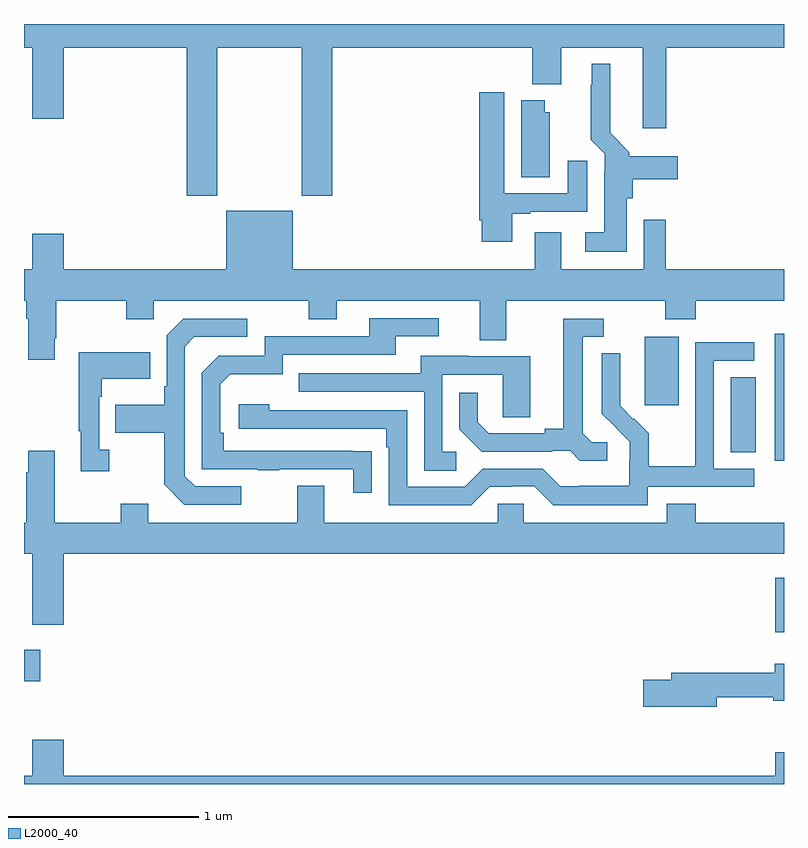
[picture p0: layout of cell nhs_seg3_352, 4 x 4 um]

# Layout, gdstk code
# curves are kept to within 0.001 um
import gdstk
lib = gdstk.Library(unit=1e-6, precision=1e-09)
def R(c, l, rs):  # rectangles x0, y0, x1, y1
    for r in rs: c.add(gdstk.rectangle(r[:2], r[2:], *l))
def P(c, l, *ps):  # polygons
    for p in ps: c.add(gdstk.Polygon(p, *l))
L2000_40 = (2000, 40)

nhs_seg3_352 = lib.new_cell('nhs_seg3_352')
R(nhs_seg3_352, L2000_40, [(129,670.942,129.085,671.107), (132.953,671.198,133,671.485), (132.95,672.102,133,672.769), (132.719,672.145,132.85,672.542), (132.266,672.393,132.445,672.754)])
P(nhs_seg3_352, L2000_40, [(130.017,674.276),(130.462,674.276),(130.462,673.497),(130.622,673.497),(130.622,674.276),(131.675,674.276),(131.675,674.084),(131.827,674.084),(131.827,674.276),(132.257,674.276),(132.257,673.851),(132.38,673.851),(132.38,674.276),(133,674.276),(133,674.4),(129,674.4),(129,674.276),(129.044,674.276),(129.044,673.902),(129.208,673.902),(129.208,674.276),(129.857,674.276),(129.857,673.497),(130.017,673.497)],
  [(132.172,673.482),(132.203,673.482),(132.203,673.583),(132.442,673.583),(132.442,673.705),(132.186,673.705),(132.186,673.726),(132.085,673.828),(132.085,674.191),(131.987,674.191),(131.987,674.081),(131.983,674.081),(131.983,673.79),(132.057,673.716),(132.057,673.622),(132.053,673.622),(132.053,673.303),(131.955,673.303),(131.955,673.202),(132.172,673.202)],
  [(131.569,673.401),(131.665,673.401),(131.665,673.413),(131.965,673.413),(131.965,673.681),(131.861,673.681),(131.861,673.509),(131.527,673.509),(131.527,674.041),(131.396,674.041),(131.396,673.366),(131.408,673.366),(131.408,673.254),(131.569,673.254)],
  [(131.767,673.935),(131.74,673.935),(131.74,673.999),(131.618,673.999),(131.618,673.594),(131.767,673.594)],
  [(129.163,672.745),(129.171,672.745),(129.171,672.944),(129.538,672.944),(129.538,672.845),(129.684,672.845),(129.684,672.944),(130.498,672.944),(130.498,672.845),(130.645,672.845),(130.645,672.944),(131.399,672.944),(131.399,672.736),(131.539,672.736),(131.539,672.944),(132.376,672.944),(132.376,672.845),(132.536,672.845),(132.536,672.944),(133,672.944),(133,673.108),(132.377,673.108),(132.377,673.369),(132.261,673.369),(132.261,673.108),(131.827,673.108),(131.827,673.303),(131.687,673.303),(131.687,673.108),(130.414,673.108),(130.414,673.417),(130.064,673.417),(130.064,673.108),(129.208,673.108),(129.208,673.297),(129.044,673.297),(129.044,673.108),(129,673.108),(129,672.944),(129.011,672.944),(129.011,672.848),(129.023,672.848),(129.023,672.633),(129.163,672.633)],
  [(130.829,672.152),(130.052,672.153),(130.052,672.25),(130.032,672.25),(130.032,672.504),(130.085,672.557),(130.362,672.557),(130.362,672.66),(130.957,672.66),(130.957,672.756),(131.182,672.756),(131.182,672.852),(130.817,672.852),(130.817,672.756),(130.266,672.756),(130.266,672.654),(130.026,672.654),(129.936,672.564),(129.936,672.057),(130.231,672.057),(130.231,672.052),(130.343,672.052),(130.343,672.057),(130.733,672.057),(130.733,671.934),(130.829,671.934)],
  [(130.144,671.967),(129.9,671.967),(129.846,672.021),(129.846,672.702),(129.897,672.753),(130.174,672.753),(130.174,672.849),(129.837,672.849),(129.75,672.762),(129.75,672.493),(129.738,672.493),(129.738,672.397),(129.481,672.397),(129.481,672.25),(129.738,672.25),(129.738,671.977),(129.843,671.871),(130.144,671.871)],
  [(132.07,672.198),(131.988,672.198),(131.941,672.245),(131.941,672.753),(132.052,672.753),(132.052,672.849),(131.837,672.849),(131.837,672.269),(131.741,672.269),(131.741,672.246),(131.446,672.246),(131.389,672.303),(131.389,672.46),(131.292,672.46),(131.292,672.266),(131.408,672.15),(131.78,672.15),(131.78,672.153),(131.874,672.153),(131.926,672.101),(132.07,672.101)],
  [(132.282,671.964),(132.844,671.964),(132.844,672.06),(132.63,672.06),(132.63,672.627),(132.844,672.627),(132.844,672.726),(132.534,672.726),(132.534,672.296),(132.532,672.296),(132.532,672.073),(132.287,672.073),(132.287,672.247),(132.21,672.324),(132.207,672.321),(132.137,672.392),(132.138,672.668),(132.042,672.668),(132.042,672.35),(132.188,672.202),(132.188,672.105),(132.186,672.105),(132.186,671.971),(131.923,671.971),(131.923,671.967),(131.823,671.967),(131.73,672.06),(131.415,672.06),(131.319,671.964),(131.016,671.964),(131.016,672.366),(130.292,672.366),(130.292,672.4),(130.131,672.4),(130.131,672.27),(130.907,672.27),(130.907,672.173),(130.92,672.173),(130.92,671.868),(131.355,671.868),(131.451,671.964),(131.57,671.964),(131.57,671.967),(131.685,671.967),(131.785,671.867),(132.282,671.867)],
  [(129.448,672.158),(129.396,672.158),(129.396,672.437),(129.409,672.437),(129.409,672.533),(129.665,672.533),(129.665,672.673),(129.288,672.673),(129.288,672.257),(129.299,672.257),(129.299,672.045),(129.448,672.045)],
  [(131.275,672.15),(131.202,672.15),(131.202,672.555),(131.52,672.555),(131.52,672.331),(131.665,672.331),(131.665,672.651),(131.341,672.651),(131.341,672.655),(131.087,672.655),(131.087,672.561),(130.447,672.561),(130.447,672.465),(131.106,672.465),(131.106,672.049),(131.275,672.049)],
  [(129.208,671.612),(133,671.612),(133,671.776),(132.536,671.776),(132.536,671.875),(132.383,671.875),(132.383,671.776),(131.631,671.776),(131.631,671.874),(131.493,671.874),(131.493,671.776),(130.579,671.776),(130.579,671.971),(130.439,671.971),(130.439,671.776),(129.655,671.776),(129.655,671.875),(129.508,671.875),(129.508,671.776),(129.163,671.776),(129.163,672.154),(129.023,672.154),(129.023,672.041),(129.011,672.041),(129.011,671.776),(129,671.776),(129,671.612),(129.044,671.612),(129.044,671.238),(129.208,671.238)],
  [(132.646,670.857),(132.943,670.857),(132.943,670.838),(133,670.838),(133,671.032),(132.95,671.032),(132.95,670.985),(132.407,670.985),(132.407,670.949),(132.258,670.949),(132.258,670.807),(132.646,670.807)],
  [(133,670.568),(132.953,670.568),(132.953,670.444),(129.208,670.444),(129.208,670.633),(129.044,670.633),(129.044,670.444),(129,670.444),(129,670.4),(133,670.4)])

lib.write_gds('nhs_seg3_352.gds')
